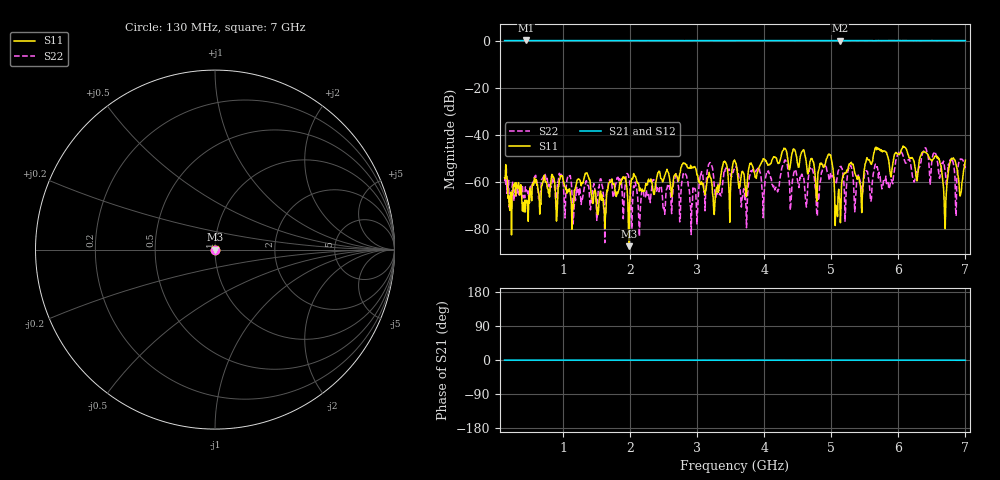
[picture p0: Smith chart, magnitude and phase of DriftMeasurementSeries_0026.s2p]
# Hz S RI R 50.000000
! Metas.Vna.Tools, 2.8.8664.20301
! Metas.Vna.Data, 2.8.8664.20285
! Created: UTC 2024.02.11 10:08:13
! FREQ  re:S1,1  im:S1,1  re:S2,1  im:S2,1  re:S1,2  im:S1,2  re:S2,2  im:S2,2
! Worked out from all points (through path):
!   801 points, 130 MHz to 7 GHz, reference 50 ohm
!   highest |S21| = 0.02 dB at 447.7 MHz (marker M1); lowest = -0.1 dB at 5.128 GHz (marker M2)
!   lowest |S11| = -87.4 dB at 1.985 GHz (marker M3), VSWR 1.00, Z = 50 + j0.00407 ohm
!   |S11| at or under -10 dB: start of sweep to end of sweep
!   |S22| runs from -85.9 to -45.6 dB; largest |S21 - S12| = 0.012
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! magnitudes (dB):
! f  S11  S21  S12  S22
! 130 MHz  -58.3  0.0  0.0  -59.9
! 447.7 MHz  -67.9  0.0  0.0  -62.8
! 1.281 GHz  -60.5  0.0  0.0  -66.7
! 1.985 GHz  -87.4  0.0  0.0  -59.0
! 2.423 GHz  -56.1  -0.1  0.0  -62.9
! 3.264 GHz  -69.6  -0.1  0.0  -64.0
! 3.565 GHz  -51.3  0.0  0.0  -53.7
! 3.711 GHz  -60.9  0.0  0.0  -67.9
! 3.831 GHz  -53.8  0.0  0.0  -54.9
! 4.716 GHz  -50.2  0.0  0.0  -54.8
! 4.793 GHz  -61.9  0.0  0.0  -74.6
! 4.973 GHz  -48.4  -0.1  0.0  -59.4
! 5.128 GHz  -67.7  -0.1  0.0  -53.7
! 5.291 GHz  -51.9  0.0  0.0  -53.2
! 5.446 GHz  -67.1  0.0  0.0  -60.6
! 5.669 GHz  -45.3  -0.1  0.0  -52.5
! 5.858 GHz  -51.2  0.0  0.0  -63.1
! 6.021 GHz  -48.3  0.0  0.0  -47.1
! 6.579 GHz  -49.9  -0.1  0.0  -51.0
! 6.699 GHz  -80.0  0.0  0.0  -55.3
! 6.794 GHz  -50.1  -0.1  0.0  -50.6
! 7 GHz  -50.9  0.0  0.0  -54.2
